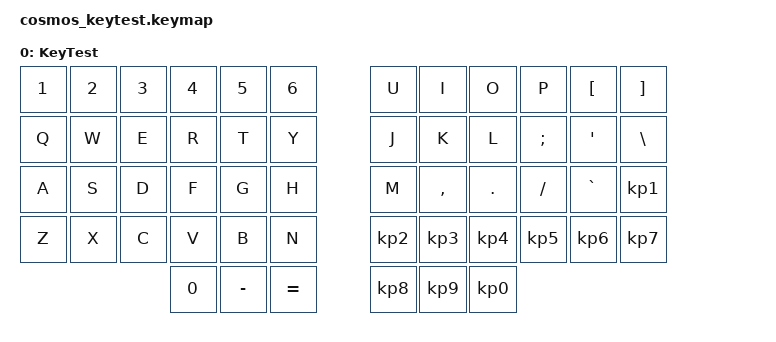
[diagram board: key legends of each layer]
/*
 * KEY-ORDER TEST keymap. Every position types a unique printable character
 * so the physical -> matrix mapping can be verified. Not for daily use.
 *
 * Flash cosmos_left_keytest.uf2, open a text editor, press every key of the
 * half in reading order (top row pinky->index, ..., then the three thumbs
 * outer->inner) and paste the result.
 * Correct mapping prints:  123456qwertyasdfghzxcvbn0-=
 */

#include <behaviors.dtsi>
#include <dt-bindings/zmk/keys.h>

/ {
    keymap {
        compatible = "zmk,keymap";

        test_layer {
            display-name = "KeyTest";
            bindings = <
&kp N1  &kp N2  &kp N3  &kp N4  &kp N5     &kp N6         &kp U      &kp I      &kp O      &kp P      &kp LBKT     &kp RBKT
&kp Q   &kp W   &kp E   &kp R   &kp T      &kp Y          &kp J      &kp K      &kp L      &kp SEMI   &kp SQT      &kp BSLH
&kp A   &kp S   &kp D   &kp F   &kp G      &kp H          &kp M      &kp COMMA  &kp DOT    &kp FSLH   &kp GRAVE    &kp KP_N1
&kp Z   &kp X   &kp C   &kp V   &kp B      &kp N          &kp KP_N2  &kp KP_N3  &kp KP_N4  &kp KP_N5  &kp KP_N6    &kp KP_N7
                        &kp N0  &kp MINUS  &kp EQUAL      &kp KP_N8  &kp KP_N9  &kp KP_N0
            >;
        };
    };
};
